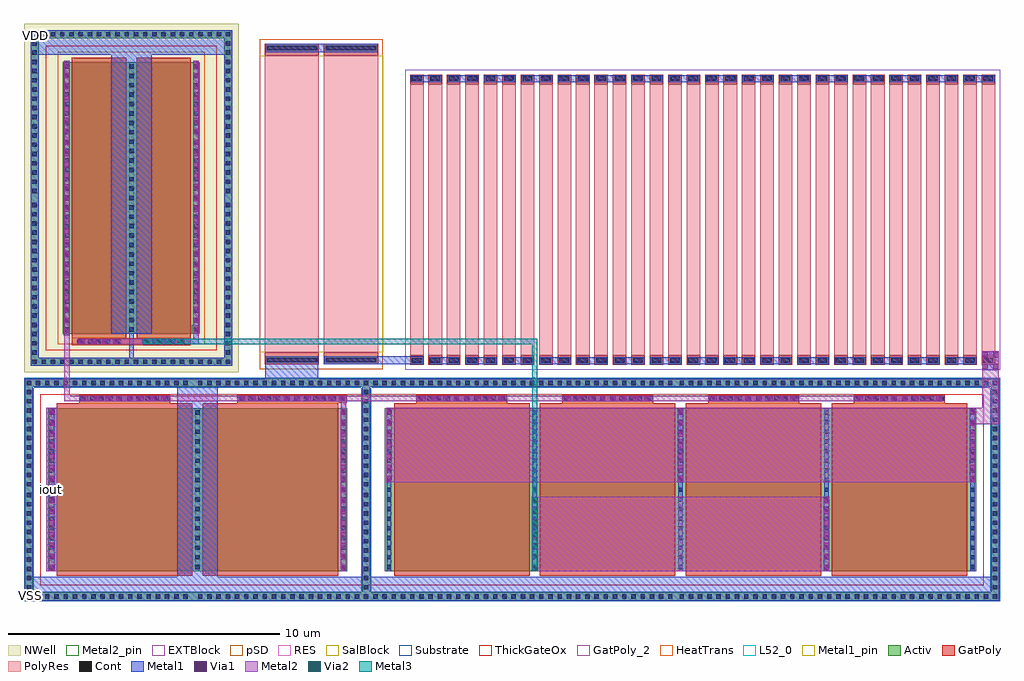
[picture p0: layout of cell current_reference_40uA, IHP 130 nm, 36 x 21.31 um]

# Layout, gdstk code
from math import pi, radians
import gdstk
lib = gdstk.Library(unit=1e-6, precision=1e-09)
def R(c, l, rs):  # rectangles x0, y0, x1, y1
    for r in rs: c.add(gdstk.rectangle(r[:2], r[2:], *l))
def A(c, l, x, y, w, h, nx, ny, dx, dy):  # array of equal rectangles
    R(c, l, [(x+i*dx, y+j*dy, x+i*dx+w, y+j*dy+h) for i in range(nx) for j in range(ny)])
def P(c, l, *ps):  # polygons
    for p in ps: c.add(gdstk.Polygon(p, *l))
Activ = (1, 0)
GatPoly = (5, 0)
GatPoly_2 = (5, 2)
Cont = (6, 0)
Metal1 = (8, 0)
Metal1_pin = (8, 2)
Metal2 = (10, 0)
Metal2_pin = (10, 2)
pSD = (14, 0)
Via1 = (19, 0)
RES = (24, 0)
SalBlock = (28, 0)
Via2 = (29, 0)
Metal3 = (30, 0)
NWell = (31, 0)
Substrate = (40, 0)
ThickGateOx = (44, 0)
HeatTrans = (51, 0)
L52_0 = (52, 0)
EXTBlock = (111, 0)
PolyRes = (128, 0)

nmoshv_3 = lib.new_cell('nmosHV$3')
A(nmoshv_3, Activ, 0, 0, 0.3, 0.3, 5, 1, 5.38, 0)
R(nmoshv_3, Activ, [(-0.84,-0.79,-0.54,6.79), (22.36,-0.79,22.66,6.79), (0,0,21.82,6), (-0.84,6.79,22.66,7.09)])
P(nmoshv_3, Activ, [(-0.84,-1.09),(-0.84,6.79),(-0.54,6.79),(-0.54,-0.79),(22.36,-0.79),(22.36,6.79),(-0.84,6.79),(-0.84,7.09),(22.66,7.09),(22.66,-1.09)])
A(nmoshv_3, GatPoly, 0.34, -0.18, 5, 6.36, 4, 1, 5.38, 0)
R(nmoshv_3, GatPoly_2, [(0.34,-0.18,5.34,6.18)])
A(nmoshv_3, Cont, -0.77, -1.02, 0.16, 0.16, 34, 2, 0.34, 7.88)
A(nmoshv_3, Cont, 10.87, -1.02, 0.16, 0.16, 35, 2, 0.34, 7.88)
A(nmoshv_3, Cont, -0.77, -0.68, 0.16, 0.16, 1, 11, 0, 0.34)
A(nmoshv_3, Cont, 22.43, -0.68, 0.16, 0.16, 1, 11, 0, 0.34)
A(nmoshv_3, Cont, 0.07, 0.07, 0.16, 0.16, 5, 4, 5.38, 0.355)
A(nmoshv_3, Cont, 0.07, 1.495, 0.16, 0.16, 5, 4, 5.38, 0.355)
A(nmoshv_3, Cont, 0.07, 2.92, 0.16, 0.16, 5, 4, 5.38, 0.355)
A(nmoshv_3, Cont, -0.77, 3.12, 0.16, 0.16, 1, 11, 0, 0.34)
A(nmoshv_3, Cont, 22.43, 3.12, 0.16, 0.16, 1, 11, 0, 0.34)
A(nmoshv_3, Cont, 0.07, 4.345, 0.16, 0.16, 5, 4, 5.38, 0.355)
A(nmoshv_3, Cont, 0.07, 5.77, 0.16, 0.16, 5, 1, 5.38, 0)
A(nmoshv_3, Metal1, 0.07, 0, 0.16, 6, 5, 1, 5.38, 0)
R(nmoshv_3, Metal1, [(-0.84,-1.09,22.66,-0.79), (-0.84,-0.79,-0.54,6.79), (22.36,-0.79,22.66,6.79), (-0.84,6.79,22.66,7.09)])
R(nmoshv_3, Metal1_pin, [(0.07,0,0.23,6), (5.45,0,5.61,6)])
R(nmoshv_3, pSD, [(-0.87,-0.76,-0.51,6.76), (22.33,-0.76,22.69,6.76), (-0.87,6.76,22.69,7.12)])
P(nmoshv_3, pSD, [(-0.87,-1.12),(-0.87,6.76),(-0.51,6.76),(-0.51,-0.76),(22.33,-0.76),(22.33,6.76),(-0.87,6.76),(-0.87,7.12),(22.69,7.12),(22.69,-1.12)])
R(nmoshv_3, Substrate, [(-0.87,-0.76,-0.51,6.76), (22.33,-0.76,22.69,6.76), (-0.87,6.76,22.69,7.12)])
P(nmoshv_3, Substrate, [(-0.87,-1.12),(-0.87,6.76),(-0.51,6.76),(-0.51,-0.76),(22.33,-0.76),(22.33,6.76),(-0.87,6.76),(-0.87,7.12),(22.69,7.12),(22.69,-1.12)])
R(nmoshv_3, ThickGateOx, [(-0.27,-0.52,22.09,6.52)])
A(nmoshv_3, HeatTrans, 0.34, -0.18, 5, 6.36, 4, 1, 5.38, 0)
nmoshv_3.add(gdstk.Label('nmosHV', (2.84,3), layer=63, texttype=0))
nmoshv_3.add(gdstk.Label('sub!', (10.91,-0.94), layer=63, texttype=0))
nmoshv_3.add(gdstk.Label('nmosHV', (2.84,3), layer=51, texttype=0))
nmoshv_3.add(gdstk.Label('nmosHV', (8.22,3), layer=51, texttype=0))
nmoshv_3.add(gdstk.Label('nmosHV', (13.6,3), layer=51, texttype=0))
nmoshv_3.add(gdstk.Label('nmosHV', (18.98,3), layer=51, texttype=0))

nmoshv = lib.new_cell('nmosHV')
A(nmoshv, Activ, 0, 0, 0.3, 0.3, 3, 1, 5.38, 0)
R(nmoshv, Activ, [(-0.84,-0.79,-0.54,6.79), (11.6,-0.79,11.9,6.79), (0,0,11.06,6), (-0.84,6.79,11.9,7.09)])
P(nmoshv, Activ, [(-0.84,-1.09),(-0.84,6.79),(-0.54,6.79),(-0.54,-0.79),(11.6,-0.79),(11.6,6.79),(-0.84,6.79),(-0.84,7.09),(11.9,7.09),(11.9,-1.09)])
R(nmoshv, GatPoly, [(0.34,-0.18,5.34,6.18), (5.72,-0.18,10.72,6.18)])
R(nmoshv, GatPoly_2, [(0.34,-0.18,5.34,6.18)])
A(nmoshv, Cont, -0.77, -1.02, 0.16, 0.16, 18, 2, 0.34, 7.88)
A(nmoshv, Cont, 5.55, -1.02, 0.16, 0.16, 19, 2, 0.34, 7.88)
A(nmoshv, Cont, -0.77, -0.68, 0.16, 0.16, 1, 11, 0, 0.34)
A(nmoshv, Cont, 11.67, -0.68, 0.16, 0.16, 1, 11, 0, 0.34)
A(nmoshv, Cont, 0.07, 0.07, 0.16, 0.16, 3, 4, 5.38, 0.355)
A(nmoshv, Cont, 0.07, 1.495, 0.16, 0.16, 3, 4, 5.38, 0.355)
A(nmoshv, Cont, 0.07, 2.92, 0.16, 0.16, 3, 4, 5.38, 0.355)
A(nmoshv, Cont, -0.77, 3.12, 0.16, 0.16, 1, 11, 0, 0.34)
A(nmoshv, Cont, 11.67, 3.12, 0.16, 0.16, 1, 11, 0, 0.34)
A(nmoshv, Cont, 0.07, 4.345, 0.16, 0.16, 3, 4, 5.38, 0.355)
A(nmoshv, Cont, 0.07, 5.77, 0.16, 0.16, 3, 1, 5.38, 0)
A(nmoshv, Metal1, 0.07, 0, 0.16, 6, 3, 1, 5.38, 0)
R(nmoshv, Metal1, [(-0.84,-1.09,11.9,-0.79), (-0.84,-0.79,-0.54,6.79), (11.6,-0.79,11.9,6.79), (-0.84,6.79,11.9,7.09)])
R(nmoshv, Metal1_pin, [(0.07,0,0.23,6), (5.45,0,5.61,6)])
R(nmoshv, pSD, [(-0.87,-0.76,-0.51,6.76), (11.57,-0.76,11.93,6.76), (-0.87,6.76,11.93,7.12)])
P(nmoshv, pSD, [(-0.87,-1.12),(-0.87,6.76),(-0.51,6.76),(-0.51,-0.76),(11.57,-0.76),(11.57,6.76),(-0.87,6.76),(-0.87,7.12),(11.93,7.12),(11.93,-1.12)])
R(nmoshv, Substrate, [(-0.87,-0.76,-0.51,6.76), (11.57,-0.76,11.93,6.76), (-0.87,6.76,11.93,7.12)])
P(nmoshv, Substrate, [(-0.87,-1.12),(-0.87,6.76),(-0.51,6.76),(-0.51,-0.76),(11.57,-0.76),(11.57,6.76),(-0.87,6.76),(-0.87,7.12),(11.93,7.12),(11.93,-1.12)])
R(nmoshv, ThickGateOx, [(-0.27,-0.52,11.33,6.52)])
R(nmoshv, HeatTrans, [(0.34,-0.18,5.34,6.18), (5.72,-0.18,10.72,6.18)])
nmoshv.add(gdstk.Label('nmosHV', (2.84,3), layer=63, texttype=0))
nmoshv.add(gdstk.Label('sub!', (5.53,-0.94), layer=63, texttype=0))
nmoshv.add(gdstk.Label('nmosHV', (2.84,3), layer=51, texttype=0))
nmoshv.add(gdstk.Label('nmosHV', (8.22,3), layer=51, texttype=0))

rppd = lib.new_cell('rppd')
R(rppd, GatPoly, [(0,-0.43,2,-0.2), (2.18,-0.43,4.18,-0.2), (0,-0.2,2,0), (2.18,-0.2,4.18,0), (0,10.95,2,11.15), (2.18,10.95,4.18,11.15), (0,11.15,2,11.38), (2.18,11.15,4.18,11.38)])
R(rppd, Cont, [(0.07,-0.36,1.93,-0.2), (2.25,-0.36,4.11,-0.2), (0.07,11.15,1.93,11.31), (2.25,11.15,4.11,11.31)])
R(rppd, Metal1, [(0.02,-0.43,1.98,-0.13), (2.2,-0.43,4.16,-0.13), (0.02,11.08,1.98,11.38), (0.02,11.08,4.16,11.38), (2.2,11.08,4.16,11.38)])
R(rppd, Metal1_pin, [(0.02,-0.43,1.98,-0.13), (2.2,-0.43,4.16,-0.13), (0.02,11.08,1.98,11.38), (2.2,11.08,4.16,11.38)])
R(rppd, pSD, [(-0.18,-0.61,2.18,0), (2,-0.61,4.36,0), (-0.18,0,2.18,10.95), (2,0,4.36,10.95), (-0.18,10.95,2.18,11.56), (2,10.95,4.36,11.56)])
R(rppd, SalBlock, [(-0.2,0,2.2,10.95), (1.98,0,4.38,10.95)])
R(rppd, L52_0, [(0,0,2,10.95), (2.18,0,4.18,10.95)])
R(rppd, EXTBlock, [(-0.18,-0.61,2.18,0), (2,-0.61,4.36,0), (-0.2,0,2.2,10.95), (1.98,0,4.38,10.95), (-0.18,10.95,2.18,11.56), (2,10.95,4.36,11.56)])
R(rppd, PolyRes, [(0,0,2,10.95), (2.18,0,4.18,10.95)])
rppd.add(gdstk.Label('rppd r=1454.242', (1,5.475), layer=63, texttype=0))
rppd.add(gdstk.Label('rppd r=1454.242', (1,5.475), layer=63, texttype=0))
rppd.add(gdstk.Label('rppd', (1,5.475), layer=52, texttype=0))
rppd.add(gdstk.Label('rppd', (3.18,5.475), layer=52, texttype=0))

via_stack_2 = lib.new_cell('via_stack$2')
R(via_stack_2, Metal1, [(-3.015,-0.105,3.015,0.105)])
R(via_stack_2, Metal2, [(-3.015,-0.1,3.015,0.1)])
A(via_stack_2, Via1, -2.965, -0.095, 0.19, 0.19, 15, 1, 0.41, 0)

via_stack_3 = lib.new_cell('via_stack$3')
R(via_stack_3, Metal1, [(-0.105,-1.99,0.105,1.99)])
R(via_stack_3, Metal2, [(-0.1,-1.99,0.1,1.99)])
A(via_stack_3, Via1, -0.095, -1.94, 0.19, 0.19, 1, 10, 0, 0.41)

via_stack = lib.new_cell('via_stack')
R(via_stack, GatPoly, [(-0.15,-2.02,0.15,2.02)])
A(via_stack, Cont, -0.08, -1.95, 0.16, 0.16, 1, 12, 0, 0.34)
R(via_stack, Metal1, [(-0.08,-2,0.08,2)])

via_stack_5 = lib.new_cell('via_stack$5')
R(via_stack_5, Metal1, [(-5.065,-0.105,5.065,0.105)])
R(via_stack_5, Metal2, [(-5.065,-0.1,5.065,0.1)])
A(via_stack_5, Via1, -5.015, -0.095, 0.19, 0.19, 25, 1, 0.41, 0)

pmoshv = lib.new_cell('pmosHV')
A(pmoshv, Activ, 0, 0, 0.3, 0.3, 3, 1, 2.38, 0)
R(pmoshv, Activ, [(-1.19,-0.89,-0.89,10.89), (5.95,-0.89,6.25,10.89), (0,0,5.06,10), (-1.19,10.89,6.25,11.19)])
P(pmoshv, Activ, [(-1.19,-1.19),(-1.19,10.89),(-0.89,10.89),(-0.89,-0.89),(5.95,-0.89),(5.95,10.89),(-1.19,10.89),(-1.19,11.19),(6.25,11.19),(6.25,-1.19)])
R(pmoshv, GatPoly, [(0.34,-0.18,2.34,10.18), (2.72,-0.18,4.72,10.18)])
R(pmoshv, GatPoly_2, [(0.34,-0.18,2.34,10.18)])
A(pmoshv, Cont, -1.12, -1.12, 0.16, 0.16, 22, 2, 0.34, 12.08)
A(pmoshv, Cont, -1.12, -0.78, 0.16, 0.16, 1, 17, 0, 0.34)
A(pmoshv, Cont, 6.02, -0.78, 0.16, 0.16, 1, 17, 0, 0.34)
A(pmoshv, Cont, 0.07, 0.07, 0.16, 0.16, 3, 4, 2.38, 0.345)
A(pmoshv, Cont, 0.07, 1.455, 0.16, 0.16, 3, 3, 2.38, 0.345)
A(pmoshv, Cont, 0.07, 2.495, 0.16, 0.16, 3, 4, 2.38, 0.345)
A(pmoshv, Cont, 0.07, 3.88, 0.16, 0.16, 3, 3, 2.38, 0.345)
A(pmoshv, Cont, 0.07, 4.92, 0.16, 0.16, 3, 4, 2.38, 0.345)
A(pmoshv, Cont, -1.12, 5.18, 0.16, 0.16, 1, 17, 0, 0.34)
A(pmoshv, Cont, 6.02, 5.18, 0.16, 0.16, 1, 17, 0, 0.34)
A(pmoshv, Cont, 0.07, 6.305, 0.16, 0.16, 3, 3, 2.38, 0.345)
A(pmoshv, Cont, 0.07, 7.345, 0.16, 0.16, 3, 4, 2.38, 0.345)
A(pmoshv, Cont, 0.07, 8.73, 0.16, 0.16, 3, 3, 2.38, 0.345)
A(pmoshv, Cont, 0.07, 9.77, 0.16, 0.16, 3, 1, 2.38, 0)
A(pmoshv, Metal1, 0.07, 0, 0.16, 10, 3, 1, 2.38, 0)
R(pmoshv, Metal1, [(-1.19,-1.19,6.25,-0.89), (-1.19,-0.89,-0.89,10.89), (5.95,-0.89,6.25,10.89), (-1.19,10.89,6.25,11.19)])
R(pmoshv, Metal1_pin, [(0.07,0,0.23,10), (2.45,0,2.61,10)])
R(pmoshv, pSD, [(-0.18,-0.4,5.24,10.4)])
R(pmoshv, NWell, [(-1.43,-1.43,6.49,11.43), (-0.62,-0.62,5.68,10.62)])
R(pmoshv, Substrate, [(4.76,0,5.06,0.3)])
R(pmoshv, ThickGateOx, [(-0.62,-0.62,5.68,10.62)])
R(pmoshv, HeatTrans, [(0.34,-0.18,2.34,10.18), (2.72,-0.18,4.72,10.18)])
pmoshv.add(gdstk.Label('pmosHV', (1.34,5), layer=63, texttype=0))
pmoshv.add(gdstk.Label('well', (2.53,-1.04), layer=63, texttype=0))
pmoshv.add(gdstk.Label('pmos', (1.34,5), layer=51, texttype=0))
pmoshv.add(gdstk.Label('pmos', (3.72,5), layer=51, texttype=0))

via_stack_13 = lib.new_cell('via_stack$13')
R(via_stack_13, Metal1, [(-1.375,-0.105,1.375,0.105)])
R(via_stack_13, Metal2, [(-1.375,-0.1,1.375,0.1)])
A(via_stack_13, Via1, -1.325, -0.095, 0.19, 0.19, 7, 1, 0.41, 0)
A(via_stack_13, Via2, -1.325, -0.095, 0.19, 0.19, 7, 1, 0.41, 0)
R(via_stack_13, Metal3, [(-1.375,-0.1,1.375,0.1)])

via_stack_4 = lib.new_cell('via_stack$4')
R(via_stack_4, Metal1, [(-1.375,-0.105,1.375,0.105)])
R(via_stack_4, Metal2, [(-1.375,-0.1,1.375,0.1)])
A(via_stack_4, Via1, -1.325, -0.095, 0.19, 0.19, 7, 1, 0.41, 0)

via_stack_10 = lib.new_cell('via_stack$10')
R(via_stack_10, GatPoly, [(-0.15,-1.68,0.15,1.68)])
A(via_stack_10, Cont, -0.08, -1.61, 0.16, 0.16, 1, 10, 0, 0.34)
R(via_stack_10, Metal1, [(-0.08,-1.66,0.08,1.66)])

via_stack_9 = lib.new_cell('via_stack$9')
R(via_stack_9, Metal1, [(-0.105,-1.58,0.105,1.58)])
R(via_stack_9, Metal2, [(-0.1,-1.58,0.1,1.58)])
A(via_stack_9, Via1, -0.095, -1.53, 0.19, 0.19, 1, 8, 0, 0.41)

via_stack_8 = lib.new_cell('via_stack$8')
R(via_stack_8, GatPoly, [(-0.15,-0.83,0.15,0.83)])
A(via_stack_8, Cont, -0.08, -0.76, 0.16, 0.16, 1, 5, 0, 0.34)
R(via_stack_8, Metal1, [(-0.08,-0.81,0.08,0.81)])

via_stack_15 = lib.new_cell('via_stack$15')
R(via_stack_15, Metal1, [(-0.105,-0.76,0.105,0.76)])
R(via_stack_15, Metal2, [(-0.1,-0.76,0.1,0.76)])
A(via_stack_15, Via1, -0.095, -0.71, 0.19, 0.19, 1, 4, 0, 0.41)
A(via_stack_15, Via2, -0.095, -0.71, 0.19, 0.19, 1, 4, 0, 0.41)
R(via_stack_15, Metal3, [(-0.1,-0.76,0.1,0.76)])

via_stack_12 = lib.new_cell('via_stack$12')
R(via_stack_12, Metal1, [(-0.105,-0.76,0.105,0.76)])
R(via_stack_12, Metal2, [(-0.1,-0.76,0.1,0.76)])
A(via_stack_12, Via1, -0.095, -0.71, 0.19, 0.19, 1, 4, 0, 0.41)

via_stack_6 = lib.new_cell('via_stack$6')
R(via_stack_6, Metal1, [(-0.35,-0.31,0.35,0.31)])
R(via_stack_6, Metal2, [(-0.35,-0.305,0.35,0.305)])
R(via_stack_6, Via1, [(-0.3,-0.3,-0.11,-0.11), (0.11,-0.3,0.3,-0.11), (-0.3,0.11,-0.11,0.3), (0.11,0.11,0.3,0.3)])

rsil = lib.new_cell('rsil')
A(rsil, GatPoly, 0, -0.35, 0.5, 0.35, 32, 2, 0.68, 10.35)
A(rsil, Cont, 0.07, -0.28, 0.36, 0.16, 32, 2, 0.68, 10.4)
A(rsil, Metal1, 0.02, -0.33, 0.46, 0.26, 32, 2, 0.68, 10.4)
A(rsil, Metal1, 0.7, -0.33, 1.14, 0.26, 15, 1, 1.36, 0)
A(rsil, Metal1, 0.02, 10.07, 1.14, 0.26, 16, 1, 1.36, 0)
A(rsil, Metal1_pin, 0.02, -0.33, 0.46, 0.26, 32, 2, 0.68, 10.4)
A(rsil, RES, 0, 0, 0.5, 10, 32, 1, 0.68, 0)
A(rsil, L52_0, 0, 0, 0.5, 10, 32, 1, 0.68, 0)
A(rsil, EXTBlock, -0.18, -0.53, 0.86, 0.53, 32, 1, 0.68, 0)
A(rsil, EXTBlock, -0.18, 0, 0.86, 10, 32, 1, 0.68, 0)
A(rsil, EXTBlock, -0.18, 0, 0.86, 10.53, 32, 1, 0.68, 0)
A(rsil, PolyRes, 0, 0, 0.5, 10, 32, 1, 0.68, 0)
rsil.add(gdstk.Label('rsil r=155', (0.25,5), layer=63, texttype=0))
rsil.add(gdstk.Label('rsil r=155', (0.25,5), layer=63, texttype=0))
rsil.add(gdstk.Label('rsil r=155', (0.25,5), layer=63, texttype=0))
rsil.add(gdstk.Label('rsil r=155', (0.25,5), layer=63, texttype=0))
rsil.add(gdstk.Label('rsil r=155', (0.25,5), layer=63, texttype=0))
rsil.add(gdstk.Label('rsil r=155', (0.25,5), layer=63, texttype=0))
rsil.add(gdstk.Label('rsil r=155', (0.25,5), layer=63, texttype=0))
rsil.add(gdstk.Label('rsil r=155', (0.25,5), layer=63, texttype=0))
rsil.add(gdstk.Label('rsil r=155', (0.25,5), layer=63, texttype=0))
rsil.add(gdstk.Label('rsil r=155', (0.25,5), layer=63, texttype=0))
rsil.add(gdstk.Label('rsil r=155', (0.25,5), layer=63, texttype=0))
rsil.add(gdstk.Label('rsil r=155', (0.25,5), layer=63, texttype=0))
rsil.add(gdstk.Label('rsil r=155', (0.25,5), layer=63, texttype=0))
rsil.add(gdstk.Label('rsil r=155', (0.25,5), layer=63, texttype=0))
rsil.add(gdstk.Label('rsil r=155', (0.25,5), layer=63, texttype=0))
rsil.add(gdstk.Label('rsil r=155', (0.25,5), layer=63, texttype=0))
rsil.add(gdstk.Label('rsil r=155', (0.25,5), layer=63, texttype=0))
rsil.add(gdstk.Label('rsil r=155', (0.25,5), layer=63, texttype=0))
rsil.add(gdstk.Label('rsil r=155', (0.25,5), layer=63, texttype=0))
rsil.add(gdstk.Label('rsil r=155', (0.25,5), layer=63, texttype=0))
rsil.add(gdstk.Label('rsil r=155', (0.25,5), layer=63, texttype=0))
rsil.add(gdstk.Label('rsil r=155', (0.25,5), layer=63, texttype=0))
rsil.add(gdstk.Label('rsil r=155', (0.25,5), layer=63, texttype=0))
rsil.add(gdstk.Label('rsil r=155', (0.25,5), layer=63, texttype=0))
rsil.add(gdstk.Label('rsil r=155', (0.25,5), layer=63, texttype=0))
rsil.add(gdstk.Label('rsil r=155', (0.25,5), layer=63, texttype=0))
rsil.add(gdstk.Label('rsil r=155', (0.25,5), layer=63, texttype=0))
rsil.add(gdstk.Label('rsil r=155', (0.25,5), layer=63, texttype=0))
rsil.add(gdstk.Label('rsil r=155', (0.25,5), layer=63, texttype=0))
rsil.add(gdstk.Label('rsil r=155', (0.25,5), layer=63, texttype=0))
rsil.add(gdstk.Label('rsil r=155', (0.25,5), layer=63, texttype=0))
rsil.add(gdstk.Label('rsil r=155', (0.25,5), layer=63, texttype=0))
rsil.add(gdstk.Label('rsil', (0.25,5), layer=52, texttype=0))
rsil.add(gdstk.Label('rsil', (0.93,5), layer=52, texttype=0))
rsil.add(gdstk.Label('rsil', (1.61,5), layer=52, texttype=0))
rsil.add(gdstk.Label('rsil', (2.29,5), layer=52, texttype=0))
rsil.add(gdstk.Label('rsil', (2.97,5), layer=52, texttype=0))
rsil.add(gdstk.Label('rsil', (3.65,5), layer=52, texttype=0))
rsil.add(gdstk.Label('rsil', (4.33,5), layer=52, texttype=0))
rsil.add(gdstk.Label('rsil', (5.01,5), layer=52, texttype=0))
rsil.add(gdstk.Label('rsil', (5.69,5), layer=52, texttype=0))
rsil.add(gdstk.Label('rsil', (6.37,5), layer=52, texttype=0))
rsil.add(gdstk.Label('rsil', (7.05,5), layer=52, texttype=0))
rsil.add(gdstk.Label('rsil', (7.73,5), layer=52, texttype=0))
rsil.add(gdstk.Label('rsil', (8.41,5), layer=52, texttype=0))
rsil.add(gdstk.Label('rsil', (9.09,5), layer=52, texttype=0))
rsil.add(gdstk.Label('rsil', (9.77,5), layer=52, texttype=0))
rsil.add(gdstk.Label('rsil', (10.45,5), layer=52, texttype=0))
rsil.add(gdstk.Label('rsil', (11.13,5), layer=52, texttype=0))
rsil.add(gdstk.Label('rsil', (11.81,5), layer=52, texttype=0))
rsil.add(gdstk.Label('rsil', (12.49,5), layer=52, texttype=0))
rsil.add(gdstk.Label('rsil', (13.17,5), layer=52, texttype=0))
rsil.add(gdstk.Label('rsil', (13.85,5), layer=52, texttype=0))
rsil.add(gdstk.Label('rsil', (14.53,5), layer=52, texttype=0))
rsil.add(gdstk.Label('rsil', (15.21,5), layer=52, texttype=0))
rsil.add(gdstk.Label('rsil', (15.89,5), layer=52, texttype=0))
rsil.add(gdstk.Label('rsil', (16.57,5), layer=52, texttype=0))
rsil.add(gdstk.Label('rsil', (17.25,5), layer=52, texttype=0))
rsil.add(gdstk.Label('rsil', (17.93,5), layer=52, texttype=0))
rsil.add(gdstk.Label('rsil', (18.61,5), layer=52, texttype=0))
rsil.add(gdstk.Label('rsil', (19.29,5), layer=52, texttype=0))
rsil.add(gdstk.Label('rsil', (19.97,5), layer=52, texttype=0))
rsil.add(gdstk.Label('rsil', (20.65,5), layer=52, texttype=0))
rsil.add(gdstk.Label('rsil', (21.33,5), layer=52, texttype=0))

current_reference_40ua = lib.new_cell('current_reference_40uA')
A(current_reference_40ua, GatPoly, 14.47, 7.3, 3.36, 0.03, 4, 1, 5.38, 0)
R(current_reference_40ua, GatPoly, [(2.03,7.3,5.39,7.33), (7.865,7.3,11.59,7.33), (1.77,9.44,6.15,9.7)])
R(current_reference_40ua, Metal1, [(0.33,0.33,35.67,0.91), (5.65,0.33,7.15,7.91), (11.675,7.135,11.885,7.585), (8.9,8.21,10.86,8.75), (13.04,8.75,14.72,9.05), (3.88,8.99,4.04,9.88), (5.91,9.485,6.445,9.695), (6.235,9.485,6.445,9.815), (3.21,9.88,4.71,20.77), (0.54,20.16,7.38,20.77)])
R(current_reference_40ua, Metal1_pin, [(0.03,0.03,0.43,0.43), (0.24,20.67,0.64,21.07)])
R(current_reference_40ua, Metal2, [(0.82,1.105,1.22,7.135), (18.74,1.105,29.7,3.855), (13.36,4.385,35.08,7.135), (11.68,7.135,11.88,7.58), (2.13,7.38,33.87,7.58), (3.53,9.49,4.39,9.69), (5.91,9.49,6.24,9.69), (6.24,9.49,6.44,9.815)])
R(current_reference_40ua, Metal2_pin, [(0.82,3.92,1.22,4.32)])
R(current_reference_40ua, ThickGateOx, [(12.2,0.6,13.04,7.64)])
current_reference_40ua.add(gdstk.FlexPath([(1.58,9.815),(1.58,7.48),(2.13,7.48)], 0.2, ends="flush", simple_path=True, layer=10, datatype=0))  # Metal2
current_reference_40ua.add(gdstk.FlexPath([(35.65,8.53),(35.65,6.83),(35.08,6.83)], 0.61, ends="flush", simple_path=True, layer=10, datatype=0))  # Metal2
current_reference_40ua.add(gdstk.FlexPath([(5.91,9.59),(18.84,9.59),(18.84,3.855)], 0.2, ends="flush", simple_path=True, layer=30, datatype=0))  # Metal3
current_reference_40ua.add(gdstk.Reference(nmoshv_3, (13.31,1.12)))
current_reference_40ua.add(gdstk.Reference(nmoshv, (0.87,1.12)))
current_reference_40ua.add(gdstk.Reference(rppd, (8.88,9.18)))
current_reference_40ua.add(gdstk.Reference(via_stack_2, (1.02,4.12), rotation=pi/2))
current_reference_40ua.add(gdstk.Reference(via_stack_2, (11.78,4.12), rotation=pi/2))
current_reference_40ua.add(gdstk.Reference(via_stack_3, (9.885,7.48), rotation=pi/2))
current_reference_40ua.add(gdstk.Reference(via_stack, (9.885,7.48), rotation=pi/2))
current_reference_40ua.add(gdstk.Reference(via_stack_5, (1.58,14.88), rotation=pi/2))
current_reference_40ua.add(gdstk.Reference(pmoshv, (1.43,9.88)))
current_reference_40ua.add(gdstk.Reference(via_stack_5, (6.34,14.88), rotation=pi/2))
current_reference_40ua.add(gdstk.Reference(via_stack_13, (18.84,2.48), rotation=pi/2))
current_reference_40ua.add(gdstk.Reference(via_stack_4, (13.46,5.76), rotation=pi/2))
current_reference_40ua.add(gdstk.Reference(via_stack_4, (24.22,5.76), rotation=pi/2))
current_reference_40ua.add(gdstk.Reference(via_stack_4, (29.6,2.48), rotation=pi/2))
current_reference_40ua.add(gdstk.Reference(via_stack_4, (34.98,5.76), rotation=pi/2))
current_reference_40ua.add(gdstk.Reference(via_stack_10, (3.71,7.48), rotation=pi/2))
current_reference_40ua.add(gdstk.Reference(via_stack_9, (3.71,7.48), rotation=pi/2))
current_reference_40ua.add(gdstk.Reference(via_stack_10, (16.15,7.48), rotation=pi/2))
current_reference_40ua.add(gdstk.Reference(via_stack_9, (16.15,7.48), rotation=pi/2))
current_reference_40ua.add(gdstk.Reference(via_stack_10, (21.53,7.48), rotation=pi/2))
current_reference_40ua.add(gdstk.Reference(via_stack_9, (21.53,7.48), rotation=pi/2))
current_reference_40ua.add(gdstk.Reference(via_stack_10, (26.91,7.48), rotation=pi/2))
current_reference_40ua.add(gdstk.Reference(via_stack_9, (26.91,7.48), rotation=pi/2))
current_reference_40ua.add(gdstk.Reference(via_stack_10, (32.29,7.48), rotation=pi/2))
current_reference_40ua.add(gdstk.Reference(via_stack_9, (32.29,7.48), rotation=pi/2))
current_reference_40ua.add(gdstk.Reference(via_stack_8, (5.15,9.59), rotation=pi/2))
current_reference_40ua.add(gdstk.Reference(via_stack_15, (5.15,9.59), rotation=pi/2))
current_reference_40ua.add(gdstk.Reference(via_stack_8, (2.77,9.59), rotation=pi/2))
current_reference_40ua.add(gdstk.Reference(via_stack_12, (2.77,9.59), rotation=pi/2))
current_reference_40ua.add(gdstk.Reference(via_stack_6, (35.65,8.88), rotation=pi/2))
current_reference_40ua.add(gdstk.Reference(rsil, (14.24,9.08)))
current_reference_40ua.add(gdstk.Label('VDD', (0.44,20.87), layer=8, texttype=25))
current_reference_40ua.add(gdstk.Label('VSS', (0.23,0.23), layer=8, texttype=25))
current_reference_40ua.add(gdstk.Label('iout', (1.02,4.12), layer=10, texttype=25))

lib.write_gds('current_reference_40uA.gds')
